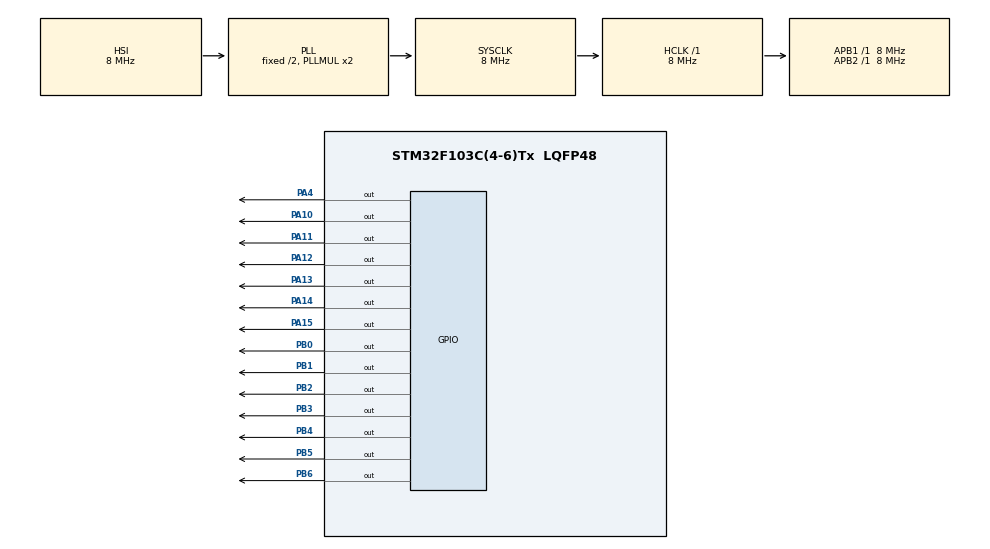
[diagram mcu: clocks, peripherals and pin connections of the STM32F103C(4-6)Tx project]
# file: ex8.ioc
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Mcu.Family=STM32F1
Mcu.Name=STM32F103C(4-6)Tx
Mcu.Package=LQFP48
NVIC.PriorityGroup=NVIC_PRIORITYGROUP_4
NVIC.TIM2_IRQn=true\:0\:0\:false\:false\:true\:true\:true\:true
PA10.Signal=GPIO_Output
PA11.Signal=GPIO_Output
PA12.Signal=GPIO_Output
PA13.Signal=GPIO_Output
PA14.Signal=GPIO_Output
PA15.Signal=GPIO_Output
PA4.Signal=GPIO_Output
PB0.Signal=GPIO_Output
PB1.Signal=GPIO_Output
PB2.Signal=GPIO_Output
PB3.Signal=GPIO_Output
PB4.Signal=GPIO_Output
PB5.Signal=GPIO_Output
PB6.Signal=GPIO_Output
ProjectManager.HeapSize=0x200
ProjectManager.StackSize=0x400
ProjectManager.TargetToolchain=STM32CubeIDE
RCC.AHBFreq_Value=8000000
RCC.APB1Freq_Value=8000000
RCC.APB1TimFreq_Value=8000000
RCC.APB2Freq_Value=8000000
RCC.APB2TimFreq_Value=8000000
RCC.HCLKFreq_Value=8000000
RCC.SYSCLKFreq_VALUE=8000000
RCC.SYSCLKSource=RCC_SYSCLKSOURCE_PLLCLK
RCC.USBFreq_Value=8000000
TIM2.Period=99
TIM2.Prescaler=7999
VP_SYS_VS_ND.Mode=No_Debug
VP_TIM2_VS_ClockSourceINT.Mode=Internal
board=custom

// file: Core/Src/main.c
/* USER CODE BEGIN Header */
/**
  ******************************************************************************
  * @file           : main.c
  * @brief          : Main program body
  ******************************************************************************
  * @attention
  *
  * Copyright (c) 2022 STMicroelectronics.
  * All rights reserved.
  *
  * This software is licensed under terms that can be found in the LICENSE file
  * in the root directory of this software component.
  * If no LICENSE file comes with this software, it is provided AS-IS.
  *
  ******************************************************************************
  */
/* USER CODE END Header */
#include "main.h"

 TIM_HandleTypeDef htim2;

void SystemClock_Config(void);
static void MX_GPIO_Init(void);
static void MX_TIM2_Init(void);

/* USER CODE BEGIN 0 */
int dotCount = 0;
int indexLed = 0;
int hour = 15, minute = 10, second = 30;
int led_buffer[6] = {1,2,3,4,5,6};

void updateClockBuffer(){
	// Display Hour
	led_buffer[0] = (hour / 10) % 10;
	led_buffer[1] = hour % 10;

	// Display Minute
	led_buffer[2] = (minute / 10) % 10;
	led_buffer[3] = minute % 10;

	// Display Second
	led_buffer[4] = (second / 10) % 10;
	led_buffer[5] = second % 10;

	led_buffer[0] = (hour / 10) % 10;
}

int update7SEG(int index){
	if (index >= 5)
		return 0;

	return index+1;
}

void HAL_TIM_PeriodElapsedCallback(TIM_HandleTypeDef *htim){
	timerRun(0);
	timerRun(1);
	timerRun(2);
}
/* USER CODE END 0 */

int main(void)
{

  /* MCU Configuration--------------------------------------------------------*/

  /* Reset of all peripherals, Initializes the Flash interface and the Systick. */
  HAL_Init();

  /* Configure the system clock */
  SystemClock_Config();

  /* Initialize all configured peripherals */
  MX_GPIO_Init();
  MX_TIM2_Init();
  /* USER CODE BEGIN 2 */
  HAL_TIM_Base_Start_IT(&htim2);
  setTimer(100, 0);
  setTimer(10, 1);
  setTimer(100, 2);
  /* USER CODE END 2 */

  /* Infinite loop */
  /* USER CODE BEGIN WHILE */
  while (1)
  {
	  if (timer_flag_0 == 1){
		  setTimer(100, 0);

		  second++;
		  if (second >= 60){
			  second = 0;
		  minute++;
		  }
		  if(minute >= 60){
			  minute = 0;
			  hour++;
		  }
		  if(hour >=24){
			  hour = 0;
		  }
		  updateClockBuffer();
	  }

	  if (timer_flag_1 == 1){
		setTimer(10, 1);

		segmentLed(led_buffer[indexLed], indexLed);
		indexLed = update7SEG(indexLed);
	  }

	  if (timer_flag_2 == 1){
		  setTimer(100,1);
		  HAL_GPIO_TogglePin(GPIOA, GPIO_PIN_4);
	  }

    /* USER CODE END WHILE */

  }
}

void SystemClock_Config(void)
{
  RCC_OscInitTypeDef RCC_OscInitStruct = {0};
  RCC_ClkInitTypeDef RCC_ClkInitStruct = {0};

  /** Initializes the RCC Oscillators according to the specified parameters
  * in the RCC_OscInitTypeDef structure.
  */
  RCC_OscInitStruct.OscillatorType = RCC_OSCILLATORTYPE_HSI;
  RCC_OscInitStruct.HSIState = RCC_HSI_ON;
  RCC_OscInitStruct.HSICalibrationValue = RCC_HSICALIBRATION_DEFAULT;
  RCC_OscInitStruct.PLL.PLLState = RCC_PLL_ON;
  RCC_OscInitStruct.PLL.PLLSource = RCC_PLLSOURCE_HSI_DIV2;
  RCC_OscInitStruct.PLL.PLLMUL = RCC_PLL_MUL2;
  if (HAL_RCC_OscConfig(&RCC_OscInitStruct) != HAL_OK)
  {
    Error_Handler();
  }

  /** Initializes the CPU, AHB and APB buses clocks
  */
  RCC_ClkInitStruct.ClockType = RCC_CLOCKTYPE_HCLK|RCC_CLOCKTYPE_SYSCLK
                              |RCC_CLOCKTYPE_PCLK1|RCC_CLOCKTYPE_PCLK2;
  RCC_ClkInitStruct.SYSCLKSource = RCC_SYSCLKSOURCE_PLLCLK;
  RCC_ClkInitStruct.AHBCLKDivider = RCC_SYSCLK_DIV1;
  RCC_ClkInitStruct.APB1CLKDivider = RCC_HCLK_DIV1;
  RCC_ClkInitStruct.APB2CLKDivider = RCC_HCLK_DIV1;

  if (HAL_RCC_ClockConfig(&RCC_ClkInitStruct, FLASH_LATENCY_0) != HAL_OK)
  {
    Error_Handler();
  }
}

static void MX_TIM2_Init(void)
{

  TIM_ClockConfigTypeDef sClockSourceConfig = {0};
  TIM_MasterConfigTypeDef sMasterConfig = {0};

  htim2.Instance = TIM2;
  htim2.Init.Prescaler = 7999;
  htim2.Init.CounterMode = TIM_COUNTERMODE_UP;
  htim2.Init.Period = 99;
  htim2.Init.ClockDivision = TIM_CLOCKDIVISION_DIV1;
  htim2.Init.AutoReloadPreload = TIM_AUTORELOAD_PRELOAD_DISABLE;
  if (HAL_TIM_Base_Init(&htim2) != HAL_OK)
  {
    Error_Handler();
  }
  sClockSourceConfig.ClockSource = TIM_CLOCKSOURCE_INTERNAL;
  if (HAL_TIM_ConfigClockSource(&htim2, &sClockSourceConfig) != HAL_OK)
  {
    Error_Handler();
  }
  sMasterConfig.MasterOutputTrigger = TIM_TRGO_RESET;
  sMasterConfig.MasterSlaveMode = TIM_MASTERSLAVEMODE_DISABLE;
  if (HAL_TIMEx_MasterConfigSynchronization(&htim2, &sMasterConfig) != HAL_OK)
  {
    Error_Handler();
  }

}

static void MX_GPIO_Init(void)
{
  GPIO_InitTypeDef GPIO_InitStruct = {0};

  /* GPIO Ports Clock Enable */
  __HAL_RCC_GPIOA_CLK_ENABLE();
  __HAL_RCC_GPIOB_CLK_ENABLE();

  /*Configure GPIO pin Output Level */
  HAL_GPIO_WritePin(GPIOA, GPIO_PIN_4|GPIO_PIN_10|GPIO_PIN_11|GPIO_PIN_12
                          |GPIO_PIN_13|GPIO_PIN_14|GPIO_PIN_15, GPIO_PIN_RESET);

  /*Configure GPIO pin Output Level */
  HAL_GPIO_WritePin(GPIOB, GPIO_PIN_0|GPIO_PIN_1|GPIO_PIN_2|GPIO_PIN_3
                          |GPIO_PIN_4|GPIO_PIN_5|GPIO_PIN_6, GPIO_PIN_RESET);

  /*Configure GPIO pins : PA4 PA10 PA11 PA12
                           PA13 PA14 PA15 */
  GPIO_InitStruct.Pin = GPIO_PIN_4|GPIO_PIN_10|GPIO_PIN_11|GPIO_PIN_12
                          |GPIO_PIN_13|GPIO_PIN_14|GPIO_PIN_15;
  GPIO_InitStruct.Mode = GPIO_MODE_OUTPUT_PP;
  GPIO_InitStruct.Pull = GPIO_NOPULL;
  GPIO_InitStruct.Speed = GPIO_SPEED_FREQ_LOW;
  HAL_GPIO_Init(GPIOA, &GPIO_InitStruct);

  /*Configure GPIO pins : PB0 PB1 PB2 PB3
                           PB4 PB5 PB6 */
  GPIO_InitStruct.Pin = GPIO_PIN_0|GPIO_PIN_1|GPIO_PIN_2|GPIO_PIN_3
                          |GPIO_PIN_4|GPIO_PIN_5|GPIO_PIN_6;
  GPIO_InitStruct.Mode = GPIO_MODE_OUTPUT_PP;
  GPIO_InitStruct.Pull = GPIO_NOPULL;
  GPIO_InitStruct.Speed = GPIO_SPEED_FREQ_LOW;
  HAL_GPIO_Init(GPIOB, &GPIO_InitStruct);

}

void Error_Handler(void)
{
  __disable_irq();
  while (1)
  {
  }
}
